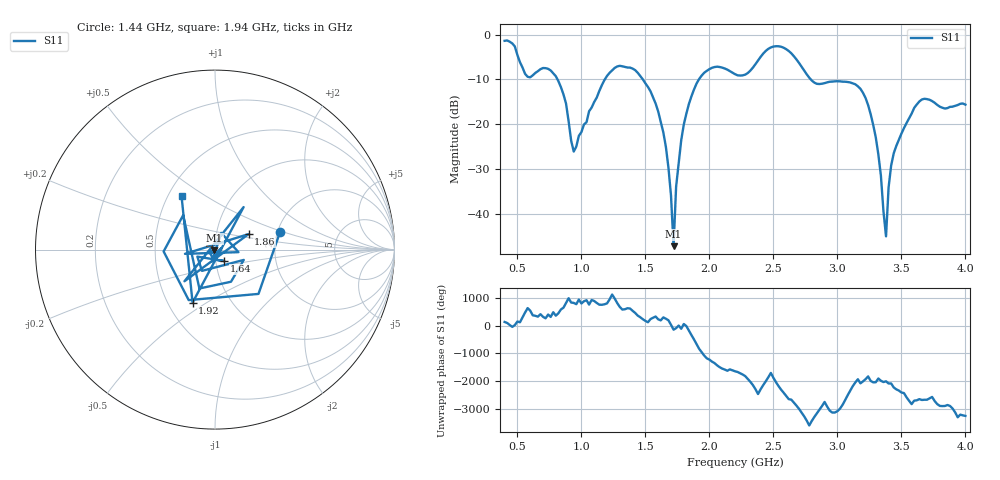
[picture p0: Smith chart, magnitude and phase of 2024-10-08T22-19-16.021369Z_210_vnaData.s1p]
! Created with skrf (http://scikit-rf.org).
# Hz S RI R 50.0
!freq ReS11 ImS11
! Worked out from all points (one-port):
!   181 points, 400 MHz to 4 GHz, reference 50 ohm
!   lowest |S11| = -47.2 dB at 1.72 GHz (marker M1), VSWR 1.01, Z = 49.7 - j0.301 ohm
!   |S11| at or under -10 dB: 813.3 MHz to 1.183 GHz (369.3 MHz wide, 37 % of centre); 1.481 GHz to 1.918 GHz (437.1 MHz wide, 25.7 % of centre); 2.793 GHz to end of sweep
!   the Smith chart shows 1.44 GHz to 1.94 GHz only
!   S11 on the Smith chart (normalised r, x): 1.44 GHz: 2.06, +0.47; 1.64 GHz: 1.10, -0.14; 1.86 GHz: 1.43, +0.26; 1.92 GHz: 0.66, -0.44; 1.94 GHz: 0.59, +0.40
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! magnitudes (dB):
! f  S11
! 400 MHz  -1.4
! 580 MHz  -9.4
! 740 MHz  -7.6
! 860 MHz  -13.3
! 940 MHz  -26.1
! 1.18 GHz  -10.1
! 1.3 GHz  -7.0
! 1.44 GHz  -8.5
! 1.64 GHz  -21.8
! 1.7 GHz  -35.9
! 1.72 GHz  -47.2
! 1.74 GHz  -33.9
! 1.76 GHz  -28.6
! 1.86 GHz  -13.7
! 1.92 GHz  -9.9
! 1.94 GHz  -9.1
! 2.2 GHz  -8.8
! 2.5 GHz  -2.7
! 2.66 GHz  -4.8
! 2.84 GHz  -11.0
! 3.1 GHz  -10.7
! 3.28 GHz  -20.2
! 3.34 GHz  -31.5
! 3.38 GHz  -45.0
! 3.42 GHz  -29.2
! 3.56 GHz  -18.7
! 3.68 GHz  -14.3
! 4 GHz  -15.6
